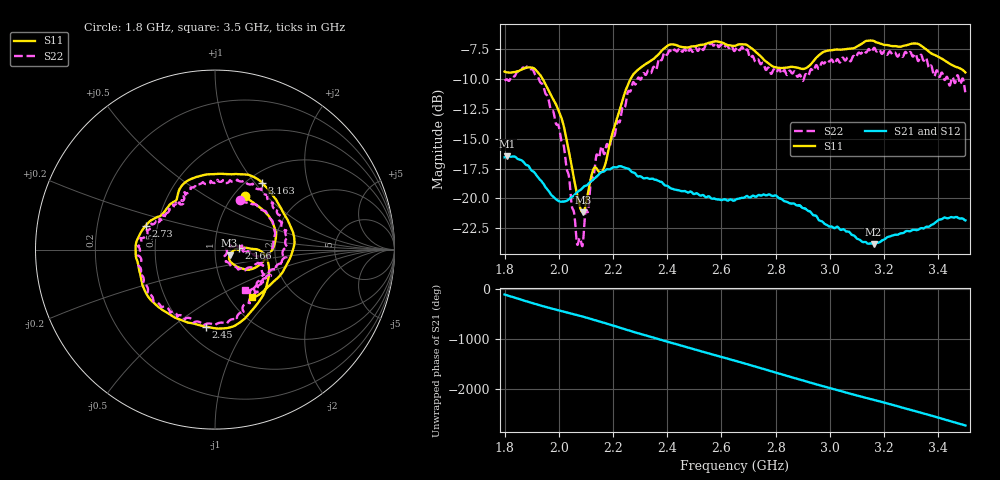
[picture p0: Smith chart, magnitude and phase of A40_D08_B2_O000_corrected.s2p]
! Created with skrf 1.9.0 (http://scikit-rf.org).
# Hz S RI R 50.0
!freq ReS11 ImS11 ReS21 ImS21 ReS12 ImS12 ReS22 ImS22
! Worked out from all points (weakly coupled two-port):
!   1601 points, 1.8 GHz to 3.5 GHz, reference 50 ohm
!   highest |S21| = -16.46 dB at 1.811 GHz (marker M1); lowest = -23.8 dB at 3.161 GHz (marker M2)
!   lowest |S11| = -21.2 dB at 2.089 GHz (marker M3), VSWR 1.19, Z = 58.7 - j3.78 ohm
!   |S11| at or under -10 dB: 1.941 GHz to 2.265 GHz (323.7 MHz wide, 15.4 % of centre)
!   |S22| runs from -24.0 to -7.0 dB; largest |S21 - S12| = 0.0028
!   S11 on the Smith chart (normalised r, x): 1.8 GHz: 1.12, +0.76; 2.166 GHz: 1.31, +0.02; 2.45 GHz: 0.63, -0.66; 2.73 GHz: 0.43, +0.14; 3.163 GHz: 1.16, +1.09; 3.5 GHz: 1.27, -0.76
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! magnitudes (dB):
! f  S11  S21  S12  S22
! 1.8 GHz  -9.4  -16.6  -16.6  -10.1
! 1.811 GHz  -9.4  -16.5  -16.5  -10.1
! 1.886 GHz  -9.0  -17.2  -17.3  -8.9
! 1.941 GHz  -10.0  -18.7  -18.7  -10.5
! 2.011 GHz  -13.4  -20.3  -20.3  -15.3
! 2.066 GHz  -19.5  -19.5  -19.5  -23.6
! 2.084 GHz  -21.1  -19.2  -19.2  -23.8
! 2.089 GHz  -21.2  -19.1  -19.1  -23.7
! 2.136 GHz  -17.4  -18.2  -18.2  -16.7
! 2.166 GHz  -17.5  -17.8  -17.7  -16.2
! 2.261 GHz  -10.2  -17.6  -17.6  -11.0
! 2.367 GHz  -7.9  -18.5  -18.5  -8.4
! 2.45 GHz  -7.3  -19.4  -19.4  -7.5
! 2.65 GHz  -7.2  -20.2  -20.1  -7.6
! 2.73 GHz  -7.8  -19.8  -19.9  -8.5
! 2.807 GHz  -9.0  -19.9  -19.9  -9.3
! 2.934 GHz  -8.6  -21.3  -21.3  -9.2
! 3.161 GHz  -6.8  -23.8  -23.8  -7.4
! 3.163 GHz  -6.8  -23.8  -23.8  -7.4
! 3.217 GHz  -7.2  -23.2  -23.2  -7.7
! 3.325 GHz  -7.0  -22.7  -22.6  -8.5
! 3.5 GHz  -9.4  -21.8  -21.9  -11.1
